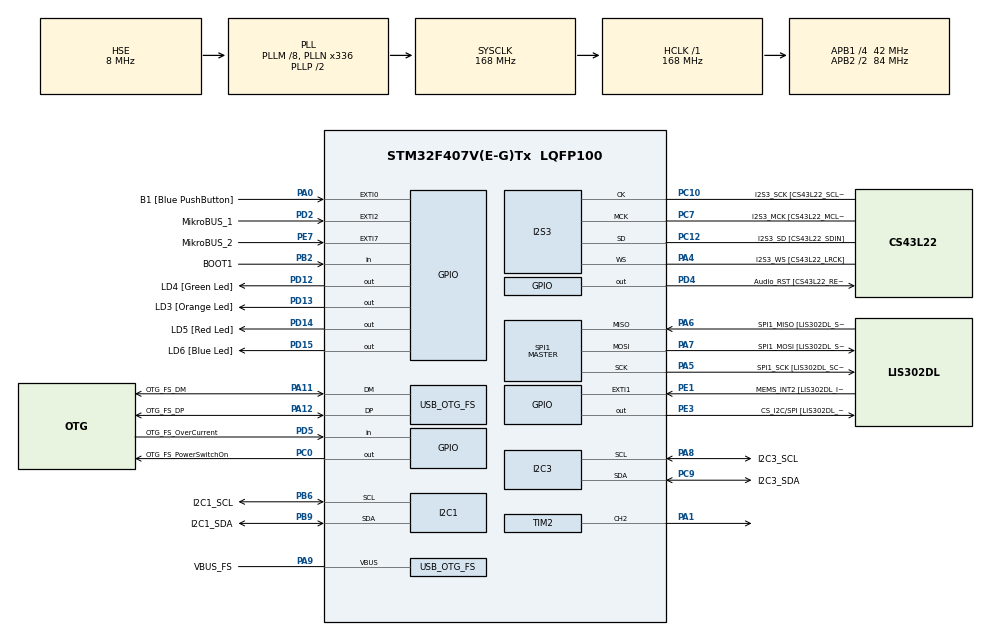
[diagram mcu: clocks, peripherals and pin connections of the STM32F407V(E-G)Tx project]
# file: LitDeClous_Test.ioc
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I2S3.AudioFreq-Half_Duplex_Master=I2S_AUDIOFREQ_96K
I2S3.ErrorAudioFreq=-2.34 %
I2S3.ErrorAudioFreq-Half_Duplex_Master=0.8 %
I2S3.FullDuplexMode=I2S_FULLDUPLEXMODE_DISABLE
I2S3.Instance=SPI$Index
I2S3.RealAudioFreq=93.75 KHz
I2S3.RealAudioFreq-Half_Duplex_Master=96.774 KHz
I2S3.VirtualMode=I2S_MODE_MASTER
Mcu.Family=STM32F4
Mcu.Name=STM32F407V(E-G)Tx
Mcu.Package=LQFP100
NVIC.EXTI2_IRQn=true\:0\:0\:false\:false\:true\:true\:true\:true
NVIC.EXTI9_5_IRQn=true\:0\:0\:false\:false\:true\:true\:true\:true
NVIC.OTG_FS_IRQn=true\:0\:0\:false\:false\:true\:true\:true\:true
NVIC.PriorityGroup=NVIC_PRIORITYGROUP_0
PA0-WKUP.GPIO_Label=B1 [Blue PushButton]
PA0-WKUP.GPIO_ModeDefaultEXTI=GPIO_MODE_EVT_RISING
PA0-WKUP.GPIO_PuPd=GPIO_NOPULL
PA0-WKUP.Signal=GPXTI0
PA10.GPIO_Label=OTG_FS_ID
PA10.GPIO_Mode=GPIO_MODE_AF_PP
PA10.GPIO_PuPd=GPIO_NOPULL
PA10.GPIO_Speed=GPIO_SPEED_FREQ_LOW
PA10.Signal=USB_OTG_FS_ID
PA11.GPIO_Label=OTG_FS_DM
PA11.GPIO_Mode=GPIO_MODE_AF_PP
PA11.GPIO_PuPd=GPIO_NOPULL
PA11.GPIO_Speed=GPIO_SPEED_FREQ_LOW
PA11.Mode=Device_Only
PA11.Signal=USB_OTG_FS_DM
PA12.GPIO_Label=OTG_FS_DP
PA12.GPIO_Mode=GPIO_MODE_AF_PP
PA12.GPIO_PuPd=GPIO_NOPULL
PA12.GPIO_Speed=GPIO_SPEED_FREQ_LOW
PA12.Mode=Device_Only
PA12.Signal=USB_OTG_FS_DP
PA13.GPIO_Label=SWDIO
PA13.Mode=Serial_Wire
PA13.Signal=SYS_JTMS-SWDIO
PA14.GPIO_Label=SWCLK
PA14.Mode=Serial_Wire
PA14.Signal=SYS_JTCK-SWCLK
PA4.GPIO_Label=I2S3_WS [CS43L22_LRCK]
PA4.GPIO_Mode=GPIO_MODE_AF_PP
PA4.GPIO_PuPd=GPIO_NOPULL
PA4.GPIO_Speed=GPIO_SPEED_FREQ_LOW
PA4.Mode=Half_Duplex_Master
PA4.Signal=I2S3_WS
PA5.GPIO_Label=SPI1_SCK [LIS302DL_SCL/SPC]
PA5.GPIO_Mode=GPIO_MODE_AF_PP
PA5.GPIO_PuPd=GPIO_NOPULL
PA5.GPIO_Speed=GPIO_SPEED_FREQ_LOW
PA5.Mode=Full_Duplex_Master
PA5.Signal=SPI1_SCK
PA6.GPIO_Label=SPI1_MISO [LIS302DL_SDO]
PA6.GPIO_Mode=GPIO_MODE_AF_PP
PA6.GPIO_PuPd=GPIO_NOPULL
PA6.GPIO_Speed=GPIO_SPEED_FREQ_LOW
PA6.Mode=Full_Duplex_Master
PA6.Signal=SPI1_MISO
PA7.GPIO_Label=SPI1_MOSI [LIS302DL_SDA/SDI/SDO]
PA7.GPIO_Mode=GPIO_MODE_AF_PP
PA7.GPIO_PuPd=GPIO_NOPULL
PA7.GPIO_Speed=GPIO_SPEED_FREQ_LOW
PA7.Mode=Full_Duplex_Master
PA7.Signal=SPI1_MOSI
PA8.GPIO_Label=I2C3_SCL
PA8.GPIO_Pu=GPIO_NOPULL
PA8.GPIO_Speed=GPIO_SPEED_FREQ_LOW
PA8.Mode=I2C
PA8.Signal=I2C3_SCL
PA9.GPIO_Label=VBUS_FS
PA9.GPIO_Mode=GPIO_MODE_INPUT
PA9.GPIO_PuPd=GPIO_NOPULL
PA9.Mode=Activate_VBUS
PA9.Signal=USB_OTG_FS_VBUS
PA1.Signal=S_TIM2_CH2
PB10.GPIO_Label=CLK_IN [MP45DT02_CLK]
PB10.GPIO_Mode=GPIO_MODE_AF_PP
PB10.GPIO_PuPd=GPIO_NOPULL
PB10.GPIO_Speed=GPIO_SPEED_FREQ_LOW
PB10.Signal=I2S2_CK
PB2.GPIO_Label=BOOT1
PB2.GPIO_Mode=GPIO_MODE_INPUT
PB2.GPIO_PuPd=GPIO_NOPULL
PB2.Signal=GPIO_Input
PB3.GPIO_Label=SWO
PB3.Signal=SYS_JTDO-SWO
PB6.GPIO_Label=I2C1_SCL
PB6.GPIO_Mode=GPIO_MODE_AF_OD
PB6.GPIO_Pu=GPIO_NOPULL
PB6.GPIO_PuPd=GPIO_NOPULL
PB6.GPIO_Speed=GPIO_SPEED_FREQ_LOW
PB6.Mode=I2C
PB6.Signal=I2C1_SCL
PB9.GPIO_Label=I2C1_SDA
PB9.GPIO_Mode=GPIO_MODE_AF_OD
PB9.GPIO_Pu=GPIO_NOPULL
PB9.GPIO_PuPd=GPIO_NOPULL
PB9.GPIO_Speed=GPIO_SPEED_FREQ_LOW
PB9.Mode=I2C
PB9.Signal=I2C1_SDA
PC0.GPIO_Label=OTG_FS_PowerSwitchOn
PC0.GPIO_PuPd=GPIO_NOPULL
PC0.GPIO_Speed=GPIO_SPEED_FREQ_LOW
PC0.PinState=GPIO_PIN_SET
PC0.Signal=GPIO_Output
PC10.GPIO_Label=I2S3_SCK [CS43L22_SCLK]
PC10.GPIO_Mode=GPIO_MODE_AF_PP
PC10.GPIO_PuPd=GPIO_NOPULL
PC10.GPIO_Speed=GPIO_SPEED_FREQ_LOW
PC10.Mode=Half_Duplex_Master
PC10.Signal=I2S3_CK
PC12.GPIO_Label=I2S3_SD [CS43L22_SDIN]
PC12.GPIO_Mode=GPIO_MODE_AF_PP
PC12.GPIO_PuPd=GPIO_NOPULL
PC12.GPIO_Speed=GPIO_SPEED_FREQ_LOW
PC12.Mode=Half_Duplex_Master
PC12.Signal=I2S3_SD
PC14-OSC32_IN.GPIO_Label=PC14-OSC32_IN
PC14-OSC32_IN.Mode=LSE-External-Oscillator
PC14-OSC32_IN.Signal=RCC_OSC32_IN
PC15-OSC32_OUT.GPIO_Label=PC15-OSC32_OUT
PC15-OSC32_OUT.Mode=LSE-External-Oscillator
PC15-OSC32_OUT.Signal=RCC_OSC32_OUT
PC3.GPIO_Label=PDM_OUT [MP45DT02_DOUT]
PC3.GPIO_Mode=GPIO_MODE_AF_PP
PC3.GPIO_PuPd=GPIO_NOPULL
PC3.GPIO_Speed=GPIO_SPEED_FREQ_LOW
PC3.Signal=I2S2_SD
PC7.GPIO_Label=I2S3_MCK [CS43L22_MCLK]
PC7.GPIO_Mode=GPIO_MODE_AF_PP
PC7.GPIO_PuPd=GPIO_NOPULL
PC7.GPIO_Speed=GPIO_SPEED_FREQ_LOW
PC7.Mode=Master_Clock_Activated
PC7.Signal=I2S3_MCK
PC9.GPIO_Label=I2C3_SDA
PC9.GPIO_Speed=GPIO_SPEED_FREQ_LOW
PC9.Mode=I2C
PC9.Signal=I2C3_SDA
PD12.GPIO_Label=LD4 [Green Led]
PD12.GPIO_PuPd=GPIO_NOPULL
PD12.GPIO_Speed=GPIO_SPEED_FREQ_LOW
PD12.Signal=GPIO_Output
PD13.GPIO_Label=LD3 [Orange Led]
PD13.GPIO_PuPd=GPIO_NOPULL
PD13.GPIO_Speed=GPIO_SPEED_FREQ_LOW
PD13.Signal=GPIO_Output
PD14.GPIO_Label=LD5 [Red Led]
PD14.GPIO_PuPd=GPIO_NOPULL
PD14.GPIO_Speed=GPIO_SPEED_FREQ_LOW
PD14.Signal=GPIO_Output
PD15.GPIO_Label=LD6 [Blue Led]
PD15.GPIO_PuPd=GPIO_NOPULL
PD15.GPIO_Speed=GPIO_SPEED_FREQ_LOW
PD15.Signal=GPIO_Output
PD2.GPIO_Label=MikroBUS_1
PD2.GPIO_ModeDefaultEXTI=GPIO_MODE_IT_FALLING
PD2.Signal=GPXTI2
PD4.GPIO_Label=Audio_RST [CS43L22_RESET]
PD4.GPIO_PuPd=GPIO_NOPULL
PD4.GPIO_Speed=GPIO_SPEED_FREQ_LOW
PD4.Signal=GPIO_Output
PD5.GPIO_Label=OTG_FS_OverCurrent
PD5.GPIO_Mode=GPIO_MODE_INPUT
PD5.GPIO_PuPd=GPIO_NOPULL
PD5.Signal=GPIO_Input
PE1.GPIO_Label=MEMS_INT2 [LIS302DL_INT2]
PE1.GPIO_ModeDefaultEXTI=GPIO_MODE_EVT_RISING
PE1.GPIO_PuPd=GPIO_NOPULL
PE1.Signal=GPXTI1
PE3.GPIO_Label=CS_I2C/SPI [LIS302DL_CS_I2C/SPI]
PE3.GPIO_PuPd=GPIO_NOPULL
PE3.GPIO_Speed=GPIO_SPEED_FREQ_LOW
PE3.Signal=GPIO_Output
PE7.GPIO_Label=MikroBUS_2
PE7.GPIO_ModeDefaultEXTI=GPIO_MODE_IT_FALLING
PE7.Signal=GPXTI7
PH0-OSC_IN.GPIO_Label=PH0-OSC_IN
PH0-OSC_IN.Mode=HSE-External-Oscillator
PH0-OSC_IN.Signal=RCC_OSC_IN
PH1-OSC_OUT.GPIO_Label=PH1-OSC_OUT
PH1-OSC_OUT.Mode=HSE-External-Oscillator
PH1-OSC_OUT.Signal=RCC_OSC_OUT
ProjectManager.HeapSize=0x200
ProjectManager.StackSize=0x400
ProjectManager.TargetToolchain=STM32CubeIDE
RCC.48MHZClocksFreq_Value=48000000
RCC.AHBFreq_Value=168000000
RCC.APB1CLKDivider=RCC_HCLK_DIV4
RCC.APB1Freq_Value=42000000
RCC.APB1TimFreq_Value=84000000
RCC.APB2CLKDivider=RCC_HCLK_DIV2
RCC.APB2Freq_Value=84000000
RCC.APB2TimFreq_Value=168000000
RCC.CortexFreq_Value=168000000
RCC.HCLKFreq_Value=168000000
RCC.HSE_VALUE=8000000
RCC.HSI_VALUE=16000000
RCC.PLLM=8
RCC.PLLN=336
RCC.PLLQ=7
RCC.SYSCLKFreq_VALUE=168000000
RCC.SYSCLKSource=RCC_SYSCLKSOURCE_PLLCLK
RCC.VCOOutputFreq_Value=336000000
SH.S_TIM2_CH2.0=TIM2_CH2,PWM Generation2 CH2
SPI1.BaudRatePrescaler-Full_Duplex_Master=SPI_BAUDRATEPRESCALER_2
SPI1.CalculateBaudRate-Full_Duplex_Master=42.0 MBits/s
SPI1.Direction=SPI_DIRECTION_2LINES
SPI1.Mode=SPI_MODE_MASTER
SPI1.Mode-Full_Duplex_Master=SPI_MODE_MASTER
SPI1.VirtualType=VM_MASTER
TIM2.Channel-PWM\ Generation2\ CH2=TIM_CHANNEL_2
TIM2.Period=9999
TIM2.Prescaler=839
TIM2.Pulse-PWM\ Generation2\ CH2=0
USB_DEVICE.CLASS_NAME_FS=CDC
USB_DEVICE.VirtualMode-CDC_FS=Cdc
USB_DEVICE.VirtualModeFS=Cdc_FS
USB_OTG_FS.VirtualMode=Device_Only
VP_TIM2_VS_ClockSourceINT.Mode=Internal
VP_USB_DEVICE_VS_USB_DEVICE_CDC_FS.Mode=CDC_FS
board=STM32F407G-DISC1

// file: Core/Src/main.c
/* USER CODE BEGIN Header */
/**
  ******************************************************************************
  * @file           : main.c
  * @brief          : Main program body
  ******************************************************************************
  * @attention
  *
  * Copyright (c) 2026 STMicroelectronics.
  * All rights reserved.
  *
  * This software is licensed under terms that can be found in the LICENSE file
  * in the root directory of this software component.
  * If no LICENSE file comes with this software, it is provided AS-IS.
  *
  ******************************************************************************
  */
/* USER CODE END Header */
#include "main.h"
#include "usb_device.h"

/* USER CODE BEGIN Includes */
#include "usbd_cdc_if.h"
#include <string.h>
#include "command_handler.h"
#include "capture.h"
#include "tca6416a.h"
#include "clickboard_io_mux.h"
#include "mcp3423.h"

/* USER CODE END Includes */

I2C_HandleTypeDef hi2c1;
I2C_HandleTypeDef hi2c3;

I2S_HandleTypeDef hi2s3;

SPI_HandleTypeDef hspi1;

TIM_HandleTypeDef htim2;

/* USER CODE BEGIN PV */
uint8_t rx_buffer[64];
uint32_t rx_length = 0;

volatile uint8_t tca_pwm_interrupt = 0;

TCA6416A_HandleTypeDef tca_adc;
ClickBoard_HandleTypeDef clickboard_pwm;
ClickBoard_HandleTypeDef clickboard_adc;
MCP3423_HandleTypeDef mcp3423_adc;

int32_t adc_raw = 0;
HAL_StatusTypeDef adc_status = HAL_ERROR;

/* USER CODE END PV */

void SystemClock_Config(void);
static void MX_GPIO_Init(void);
static void MX_I2C1_Init(void);
static void MX_I2S3_Init(void);
static void MX_SPI1_Init(void);
static void MX_I2C3_Init(void);
static void MX_TIM2_Init(void);

/* USER CODE BEGIN 0 */

HAL_StatusTypeDef PWM_SetFrequency(uint32_t frequency)
{
    if (frequency < 1 || frequency > 10000)
    {
        return HAL_ERROR;
    }

    const uint32_t timer_clock = 84000000;
    const uint32_t timer_tick = 100000;

    uint32_t prescaler = (timer_clock / timer_tick) - 1;
    uint32_t period = (timer_tick / frequency) - 1;

    uint32_t old_period = __HAL_TIM_GET_AUTORELOAD(&htim2);
    uint32_t old_pulse = __HAL_TIM_GET_COMPARE(&htim2, TIM_CHANNEL_2);

    uint32_t new_pulse =
        (uint32_t)(((uint64_t)old_pulse * (period + 1)) /
                   (old_period + 1));

    __HAL_TIM_DISABLE(&htim2);

    __HAL_TIM_SET_PRESCALER(&htim2, prescaler);
    __HAL_TIM_SET_AUTORELOAD(&htim2, period);
    __HAL_TIM_SET_COMPARE(&htim2, TIM_CHANNEL_2, new_pulse);
    __HAL_TIM_SET_COUNTER(&htim2, 0);

    HAL_TIM_GenerateEvent(&htim2, TIM_EVENTSOURCE_UPDATE);

    __HAL_TIM_ENABLE(&htim2);

    return HAL_OK;
}

/* USER CODE END 0 */

int main(void)
{

  /* MCU Configuration--------------------------------------------------------*/

  /* Reset of all peripherals, Initializes the Flash interface and the Systick. */
  HAL_Init();

  /* Configure the system clock */
  SystemClock_Config();

  /* Initialize all configured peripherals */
  MX_GPIO_Init();
  MX_I2C1_Init();
  MX_I2S3_Init();
  MX_SPI1_Init();
  MX_USB_DEVICE_Init();
  MX_I2C3_Init();
  MX_TIM2_Init();
  /* USER CODE BEGIN 2 */

  /* Carte ADC: MikroBUS 1 / I2C3. Carte PWM: MikroBUS 2 / I2C1.
   * Aucun stimulus au demarrage: mux desactives, GPIO en entree. */
  if (TCA6416A_Init(&tca_adc, &hi2c3, TCA6416A_ADDR_ADC) == HAL_OK)
      HAL_GPIO_WritePin(GPIOD, GPIO_PIN_12, GPIO_PIN_SET);
  clickboard_adc.tca = tca_adc;
  TCA6416A_WritePin(&tca_adc, 11, 1);
  for (uint8_t pin=8; pin<=11; ++pin)
      TCA6416A_PinMode(&tca_adc, pin, TCA6416A_OUTPUT);
  ClickBoard_DisableMux(&clickboard_adc);
  if (ClickBoard_InitPWM(&clickboard_pwm, &hi2c1) == HAL_OK)
      HAL_GPIO_WritePin(GPIOD, GPIO_PIN_13, GPIO_PIN_SET);
  for (uint8_t pin=0; pin<8; ++pin) {
      TCA6416A_PinMode(&clickboard_pwm.tca, pin, TCA6416A_INPUT);
      TCA6416A_PinMode(&tca_adc, pin, TCA6416A_INPUT);
  }
  /* TIM2_CH2, PA1: PWM du connecteur MikroBUS 2. */
  if (HAL_TIM_PWM_Start(&htim2, TIM_CHANNEL_2) != HAL_OK) Error_Handler();
  if (MCP3423_Init(&mcp3423_adc, &hi2c3) == HAL_OK &&
      MCP3423_Configure(&mcp3423_adc, MCP3423_CHANNEL_1,
          MCP3423_MODE_ONESHOT, MCP3423_RESOLUTION_12BIT) == HAL_OK)
      HAL_GPIO_WritePin(GPIOD, GPIO_PIN_14, GPIO_PIN_SET);

  /* USER CODE END 2 */

  /* Infinite loop */
  /* USER CODE BEGIN WHILE */
  while (1)
  {
	  CommandHandler_Task();

	  if (!CommandHandler_IsResponsePending())
	  {
	      if (USB_ReadCommand(rx_buffer, &rx_length))
	      {
	          CommandHandler_Process(rx_buffer, rx_length);
	      }
	  }

      Capture_Task();

      HAL_Delay(1);

    /* USER CODE END WHILE */

  }
}

void SystemClock_Config(void)
{
  RCC_OscInitTypeDef RCC_OscInitStruct = {0};
  RCC_ClkInitTypeDef RCC_ClkInitStruct = {0};

  /** Configure the main internal regulator output voltage
  */
  __HAL_RCC_PWR_CLK_ENABLE();
  __HAL_PWR_VOLTAGESCALING_CONFIG(PWR_REGULATOR_VOLTAGE_SCALE1);

  /** Initializes the RCC Oscillators according to the specified parameters
  * in the RCC_OscInitTypeDef structure.
  */
  RCC_OscInitStruct.OscillatorType = RCC_OSCILLATORTYPE_HSE;
  RCC_OscInitStruct.HSEState = RCC_HSE_ON;
  RCC_OscInitStruct.PLL.PLLState = RCC_PLL_ON;
  RCC_OscInitStruct.PLL.PLLSource = RCC_PLLSOURCE_HSE;
  RCC_OscInitStruct.PLL.PLLM = 8;
  RCC_OscInitStruct.PLL.PLLN = 336;
  RCC_OscInitStruct.PLL.PLLP = RCC_PLLP_DIV2;
  RCC_OscInitStruct.PLL.PLLQ = 7;
  if (HAL_RCC_OscConfig(&RCC_OscInitStruct) != HAL_OK)
  {
    Error_Handler();
  }

  /** Initializes the CPU, AHB and APB buses clocks
  */
  RCC_ClkInitStruct.ClockType = RCC_CLOCKTYPE_HCLK|RCC_CLOCKTYPE_SYSCLK
                              |RCC_CLOCKTYPE_PCLK1|RCC_CLOCKTYPE_PCLK2;
  RCC_ClkInitStruct.SYSCLKSource = RCC_SYSCLKSOURCE_PLLCLK;
  RCC_ClkInitStruct.AHBCLKDivider = RCC_SYSCLK_DIV1;
  RCC_ClkInitStruct.APB1CLKDivider = RCC_HCLK_DIV4;
  RCC_ClkInitStruct.APB2CLKDivider = RCC_HCLK_DIV2;

  if (HAL_RCC_ClockConfig(&RCC_ClkInitStruct, FLASH_LATENCY_5) != HAL_OK)
  {
    Error_Handler();
  }
}

static void MX_I2C1_Init(void)
{

  hi2c1.Instance = I2C1;
  hi2c1.Init.ClockSpeed = 100000;
  hi2c1.Init.DutyCycle = I2C_DUTYCYCLE_2;
  hi2c1.Init.OwnAddress1 = 0;
  hi2c1.Init.AddressingMode = I2C_ADDRESSINGMODE_7BIT;
  hi2c1.Init.DualAddressMode = I2C_DUALADDRESS_DISABLE;
  hi2c1.Init.OwnAddress2 = 0;
  hi2c1.Init.GeneralCallMode = I2C_GENERALCALL_DISABLE;
  hi2c1.Init.NoStretchMode = I2C_NOSTRETCH_DISABLE;
  if (HAL_I2C_Init(&hi2c1) != HAL_OK)
  {
    Error_Handler();
  }

}

static void MX_I2C3_Init(void)
{

  hi2c3.Instance = I2C3;
  hi2c3.Init.ClockSpeed = 100000;
  hi2c3.Init.DutyCycle = I2C_DUTYCYCLE_2;
  hi2c3.Init.OwnAddress1 = 0;
  hi2c3.Init.AddressingMode = I2C_ADDRESSINGMODE_7BIT;
  hi2c3.Init.DualAddressMode = I2C_DUALADDRESS_DISABLE;
  hi2c3.Init.OwnAddress2 = 0;
  hi2c3.Init.GeneralCallMode = I2C_GENERALCALL_DISABLE;
  hi2c3.Init.NoStretchMode = I2C_NOSTRETCH_DISABLE;
  if (HAL_I2C_Init(&hi2c3) != HAL_OK)
  {
    Error_Handler();
  }

}

static void MX_I2S3_Init(void)
{

  hi2s3.Instance = SPI3;
  hi2s3.Init.Mode = I2S_MODE_MASTER_TX;
  hi2s3.Init.Standard = I2S_STANDARD_PHILIPS;
  hi2s3.Init.DataFormat = I2S_DATAFORMAT_16B;
  hi2s3.Init.MCLKOutput = I2S_MCLKOUTPUT_ENABLE;
  hi2s3.Init.AudioFreq = I2S_AUDIOFREQ_96K;
  hi2s3.Init.CPOL = I2S_CPOL_LOW;
  hi2s3.Init.ClockSource = I2S_CLOCK_PLL;
  hi2s3.Init.FullDuplexMode = I2S_FULLDUPLEXMODE_DISABLE;
  if (HAL_I2S_Init(&hi2s3) != HAL_OK)
  {
    Error_Handler();
  }

}

static void MX_SPI1_Init(void)
{

  /* SPI1 parameter configuration*/
  hspi1.Instance = SPI1;
  hspi1.Init.Mode = SPI_MODE_MASTER;
  hspi1.Init.Direction = SPI_DIRECTION_2LINES;
  hspi1.Init.DataSize = SPI_DATASIZE_8BIT;
  hspi1.Init.CLKPolarity = SPI_POLARITY_LOW;
  hspi1.Init.CLKPhase = SPI_PHASE_1EDGE;
  hspi1.Init.NSS = SPI_NSS_SOFT;
  hspi1.Init.BaudRatePrescaler = SPI_BAUDRATEPRESCALER_2;
  hspi1.Init.FirstBit = SPI_FIRSTBIT_MSB;
  hspi1.Init.TIMode = SPI_TIMODE_DISABLE;
  hspi1.Init.CRCCalculation = SPI_CRCCALCULATION_DISABLE;
  hspi1.Init.CRCPolynomial = 10;
  if (HAL_SPI_Init(&hspi1) != HAL_OK)
  {
    Error_Handler();
  }

}

static void MX_TIM2_Init(void)
{

  TIM_ClockConfigTypeDef sClockSourceConfig = {0};
  TIM_MasterConfigTypeDef sMasterConfig = {0};
  TIM_OC_InitTypeDef sConfigOC = {0};

  htim2.Instance = TIM2;
  htim2.Init.Prescaler = 839;
  htim2.Init.CounterMode = TIM_COUNTERMODE_UP;
  htim2.Init.Period = 9999;
  htim2.Init.ClockDivision = TIM_CLOCKDIVISION_DIV1;
  htim2.Init.AutoReloadPreload = TIM_AUTORELOAD_PRELOAD_DISABLE;
  if (HAL_TIM_Base_Init(&htim2) != HAL_OK)
  {
    Error_Handler();
  }
  sClockSourceConfig.ClockSource = TIM_CLOCKSOURCE_INTERNAL;
  if (HAL_TIM_ConfigClockSource(&htim2, &sClockSourceConfig) != HAL_OK)
  {
    Error_Handler();
  }
  if (HAL_TIM_PWM_Init(&htim2) != HAL_OK)
  {
    Error_Handler();
  }
  sMasterConfig.MasterOutputTrigger = TIM_TRGO_RESET;
  sMasterConfig.MasterSlaveMode = TIM_MASTERSLAVEMODE_DISABLE;
  if (HAL_TIMEx_MasterConfigSynchronization(&htim2, &sMasterConfig) != HAL_OK)
  {
    Error_Handler();
  }
  sConfigOC.OCMode = TIM_OCMODE_PWM1;
  sConfigOC.Pulse = 0;
  sConfigOC.OCPolarity = TIM_OCPOLARITY_HIGH;
  sConfigOC.OCFastMode = TIM_OCFAST_DISABLE;
  if (HAL_TIM_PWM_ConfigChannel(&htim2, &sConfigOC, TIM_CHANNEL_2) != HAL_OK)
  {
    Error_Handler();
  }
  HAL_TIM_MspPostInit(&htim2);

}

static void MX_GPIO_Init(void)
{
  GPIO_InitTypeDef GPIO_InitStruct = {0};

  /* GPIO Ports Clock Enable */
  __HAL_RCC_GPIOE_CLK_ENABLE();
  __HAL_RCC_GPIOC_CLK_ENABLE();
  __HAL_RCC_GPIOH_CLK_ENABLE();
  __HAL_RCC_GPIOA_CLK_ENABLE();
  __HAL_RCC_GPIOB_CLK_ENABLE();
  __HAL_RCC_GPIOD_CLK_ENABLE();

  /*Configure GPIO pin Output Level */
  HAL_GPIO_WritePin(CS_I2C_SPI_GPIO_Port, CS_I2C_SPI_Pin, GPIO_PIN_RESET);

  /*Configure GPIO pin Output Level */
  HAL_GPIO_WritePin(OTG_FS_PowerSwitchOn_GPIO_Port, OTG_FS_PowerSwitchOn_Pin, GPIO_PIN_SET);

  /*Configure GPIO pin Output Level */
  HAL_GPIO_WritePin(GPIOD, LD4_Pin|LD3_Pin|LD5_Pin|LD6_Pin
                          |Audio_RST_Pin, GPIO_PIN_RESET);

  /*Configure GPIO pin : CS_I2C_SPI_Pin */
  GPIO_InitStruct.Pin = CS_I2C_SPI_Pin;
  GPIO_InitStruct.Mode = GPIO_MODE_OUTPUT_PP;
  GPIO_InitStruct.Pull = GPIO_NOPULL;
  GPIO_InitStruct.Speed = GPIO_SPEED_FREQ_LOW;
  HAL_GPIO_Init(CS_I2C_SPI_GPIO_Port, &GPIO_InitStruct);

  /*Configure GPIO pin : OTG_FS_PowerSwitchOn_Pin */
  GPIO_InitStruct.Pin = OTG_FS_PowerSwitchOn_Pin;
  GPIO_InitStruct.Mode = GPIO_MODE_OUTPUT_PP;
  GPIO_InitStruct.Pull = GPIO_NOPULL;
  GPIO_InitStruct.Speed = GPIO_SPEED_FREQ_LOW;
  HAL_GPIO_Init(OTG_FS_PowerSwitchOn_GPIO_Port, &GPIO_InitStruct);

  /*Configure GPIO pin : PDM_OUT_Pin */
  GPIO_InitStruct.Pin = PDM_OUT_Pin;
  GPIO_InitStruct.Mode = GPIO_MODE_AF_PP;
  GPIO_InitStruct.Pull = GPIO_NOPULL;
  GPIO_InitStruct.Speed = GPIO_SPEED_FREQ_LOW;
  GPIO_InitStruct.Alternate = GPIO_AF5_SPI2;
  HAL_GPIO_Init(PDM_OUT_GPIO_Port, &GPIO_InitStruct);

  /*Configure GPIO pin : B1_Pin */
  GPIO_InitStruct.Pin = B1_Pin;
  GPIO_InitStruct.Mode = GPIO_MODE_EVT_RISING;
  GPIO_InitStruct.Pull = GPIO_NOPULL;
  HAL_GPIO_Init(B1_GPIO_Port, &GPIO_InitStruct);

  /*Configure GPIO pin : BOOT1_Pin */
  GPIO_InitStruct.Pin = BOOT1_Pin;
  GPIO_InitStruct.Mode = GPIO_MODE_INPUT;
  GPIO_InitStruct.Pull = GPIO_NOPULL;
  HAL_GPIO_Init(BOOT1_GPIO_Port, &GPIO_InitStruct);

  /*Configure GPIO pin : MikroBUS_2_Pin */
  GPIO_InitStruct.Pin = MikroBUS_2_Pin;
  GPIO_InitStruct.Mode = GPIO_MODE_IT_FALLING;
  GPIO_InitStruct.Pull = GPIO_NOPULL;
  HAL_GPIO_Init(MikroBUS_2_GPIO_Port, &GPIO_InitStruct);

  /*Configure GPIO pin : CLK_IN_Pin */
  GPIO_InitStruct.Pin = CLK_IN_Pin;
  GPIO_InitStruct.Mode = GPIO_MODE_AF_PP;
  GPIO_InitStruct.Pull = GPIO_NOPULL;
  GPIO_InitStruct.Speed = GPIO_SPEED_FREQ_LOW;
  GPIO_InitStruct.Alternate = GPIO_AF5_SPI2;
  HAL_GPIO_Init(CLK_IN_GPIO_Port, &GPIO_InitStruct);

  /*Configure GPIO pins : LD4_Pin LD3_Pin LD5_Pin LD6_Pin
                           Audio_RST_Pin */
  GPIO_InitStruct.Pin = LD4_Pin|LD3_Pin|LD5_Pin|LD6_Pin
                          |Audio_RST_Pin;
  GPIO_InitStruct.Mode = GPIO_MODE_OUTPUT_PP;
  GPIO_InitStruct.Pull = GPIO_NOPULL;
  GPIO_InitStruct.Speed = GPIO_SPEED_FREQ_LOW;
  HAL_GPIO_Init(GPIOD, &GPIO_InitStruct);

  /*Configure GPIO pin : MikroBUS_1_Pin */
  GPIO_InitStruct.Pin = MikroBUS_1_Pin;
  GPIO_InitStruct.Mode = GPIO_MODE_IT_FALLING;
  GPIO_InitStruct.Pull = GPIO_NOPULL;
  HAL_GPIO_Init(MikroBUS_1_GPIO_Port, &GPIO_InitStruct);

  /*Configure GPIO pin : OTG_FS_OverCurrent_Pin */
  GPIO_InitStruct.Pin = OTG_FS_OverCurrent_Pin;
  GPIO_InitStruct.Mode = GPIO_MODE_INPUT;
  GPIO_InitStruct.Pull = GPIO_NOPULL;
  HAL_GPIO_Init(OTG_FS_OverCurrent_GPIO_Port, &GPIO_InitStruct);

  /*Configure GPIO pin : MEMS_INT2_Pin */
  GPIO_InitStruct.Pin = MEMS_INT2_Pin;
  GPIO_InitStruct.Mode = GPIO_MODE_EVT_RISING;
  GPIO_InitStruct.Pull = GPIO_NOPULL;
  HAL_GPIO_Init(MEMS_INT2_GPIO_Port, &GPIO_InitStruct);

  /* EXTI interrupt init*/
  HAL_NVIC_SetPriority(EXTI2_IRQn, 0, 0);
  HAL_NVIC_EnableIRQ(EXTI2_IRQn);

  HAL_NVIC_SetPriority(EXTI9_5_IRQn, 0, 0);
  HAL_NVIC_EnableIRQ(EXTI9_5_IRQn);

}

/* USER CODE BEGIN 4 */
void HAL_GPIO_EXTI_Callback(uint16_t GPIO_Pin)
{
    if (GPIO_Pin == GPIO_PIN_2)
    {
        tca_pwm_interrupt = 1;
    }
}

/* USER CODE END 4 */

void Error_Handler(void)
{
  __disable_irq();
  while (1)
  {
  }
}
